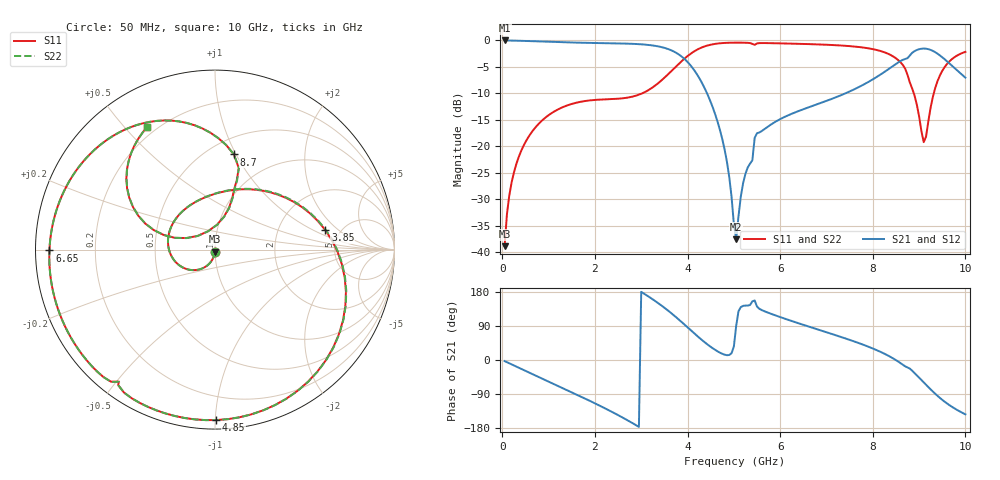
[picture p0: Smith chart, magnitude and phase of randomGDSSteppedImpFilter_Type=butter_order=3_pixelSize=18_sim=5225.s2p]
! freq	dB(S11)	phase(S11)	dB(S12)	phase(S12)
!  dB(S21)	phase(S21)	dB(S22)	phase(S22)
!S-par simulation data
#  GHz  S  DB  R 50
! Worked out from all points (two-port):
!   200 points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, 50 MHz to 10 GHz, reference 50 ohm
!   highest |S21| = 0.00 dB at 50 MHz (marker M1); lowest = -37.5 dB at 5.05 GHz (marker M2)
!   |S21| within 3 dB of the highest: start of sweep to 3.867 GHz; 8.784 GHz to 9.475 GHz (691.2 MHz wide, 7.57 % of centre)
!   lowest |S11| = -38.9 dB at 50 MHz (marker M3), VSWR 1.02, Z = 49.9 - j1.14 ohm
!   |S11| at or under -10 dB: start of sweep to 3.018 GHz; 8.886 GHz to 9.317 GHz (431.2 MHz wide, 4.74 % of centre)
!   |S22| runs from -38.9 to -0.4 dB; largest |S21 - S12| = 0
!   S11 on the Smith chart (normalised r, x): 50 MHz: 1.00, -0.02; 3.85 GHz: 3.81, +1.36; 4.85 GHz: 0.05, -1.01; 6.65 GHz: 0.04, -0.00; 8.7 GHz: 0.65, +0.98; 10 GHz: 0.17, +0.58
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0.05  -38.86 -92.6  -0.00 -2.9  -0.00 -2.9  -38.86 -92.6
0.2  -26.87 -101.7  -0.03 -11.5  -0.03 -11.5  -26.87 -101.6
0.5  -19.20 -119.1  -0.09 -28.6  -0.09 -28.6  -19.20 -119.1
1.15  -13.27 -156.1  -0.29 -65.4  -0.29 -65.4  -13.27 -156.0
1.75  -11.50 169.6  -0.44 -99.6  -0.44 -99.6  -11.49 169.8
2.7  -10.81 110.1  -0.60 -158.8  -0.60 -158.8  -10.80 110.7
3.4  -7.83 55.1  -1.18 147.1  -1.18 147.1  -7.82 55.8
3.85  -4.09 10.0  -2.88 102.6  -2.88 102.6  -4.09 10.6
4.25  -1.55 -34.4  -7.06 59.1  -7.06 59.1  -1.55 -34.0
4.55  -0.72 -64.5  -12.78 30.5  -12.78 30.5  -0.71 -64.2
4.85  -0.45 -89.5  -22.89 12.7  -22.89 12.7  -0.45 -89.3
5.05  -0.41 -103.6  -37.53 89.5  -37.53 89.5  -0.41 -103.4
5.2  -0.42 -113.2  -26.97 142.9  -26.97 142.9  -0.42 -113.0
5.5  -0.57 -128.2  -17.52 141.1  -17.52 141.1  -0.57 -128.1
6.65  -0.70 -179.7  -12.52 86.9  -12.52 86.9  -0.70 -179.7
6.7  -0.71 178.3  -12.37 84.9  -12.37 84.9  -0.71 178.4
7.55  -1.11 144.7  -9.44 51.1  -9.44 51.1  -1.11 144.7
8.35  -2.60 105.7  -5.36 10.4  -5.36 10.4  -2.59 105.7
8.7  -5.34 78.8  -3.51 -16.7  -3.51 -16.7  -5.31 78.9
9.1  -19.21 111.0  -1.53 -59.0  -1.53 -59.0  -19.26 110.8
9.45  -6.60 156.1  -2.83 -100.1  -2.83 -100.1  -6.60 156.1
10  -2.15 119.0  -7.03 -143.4  -7.03 -143.4  -2.15 118.9
